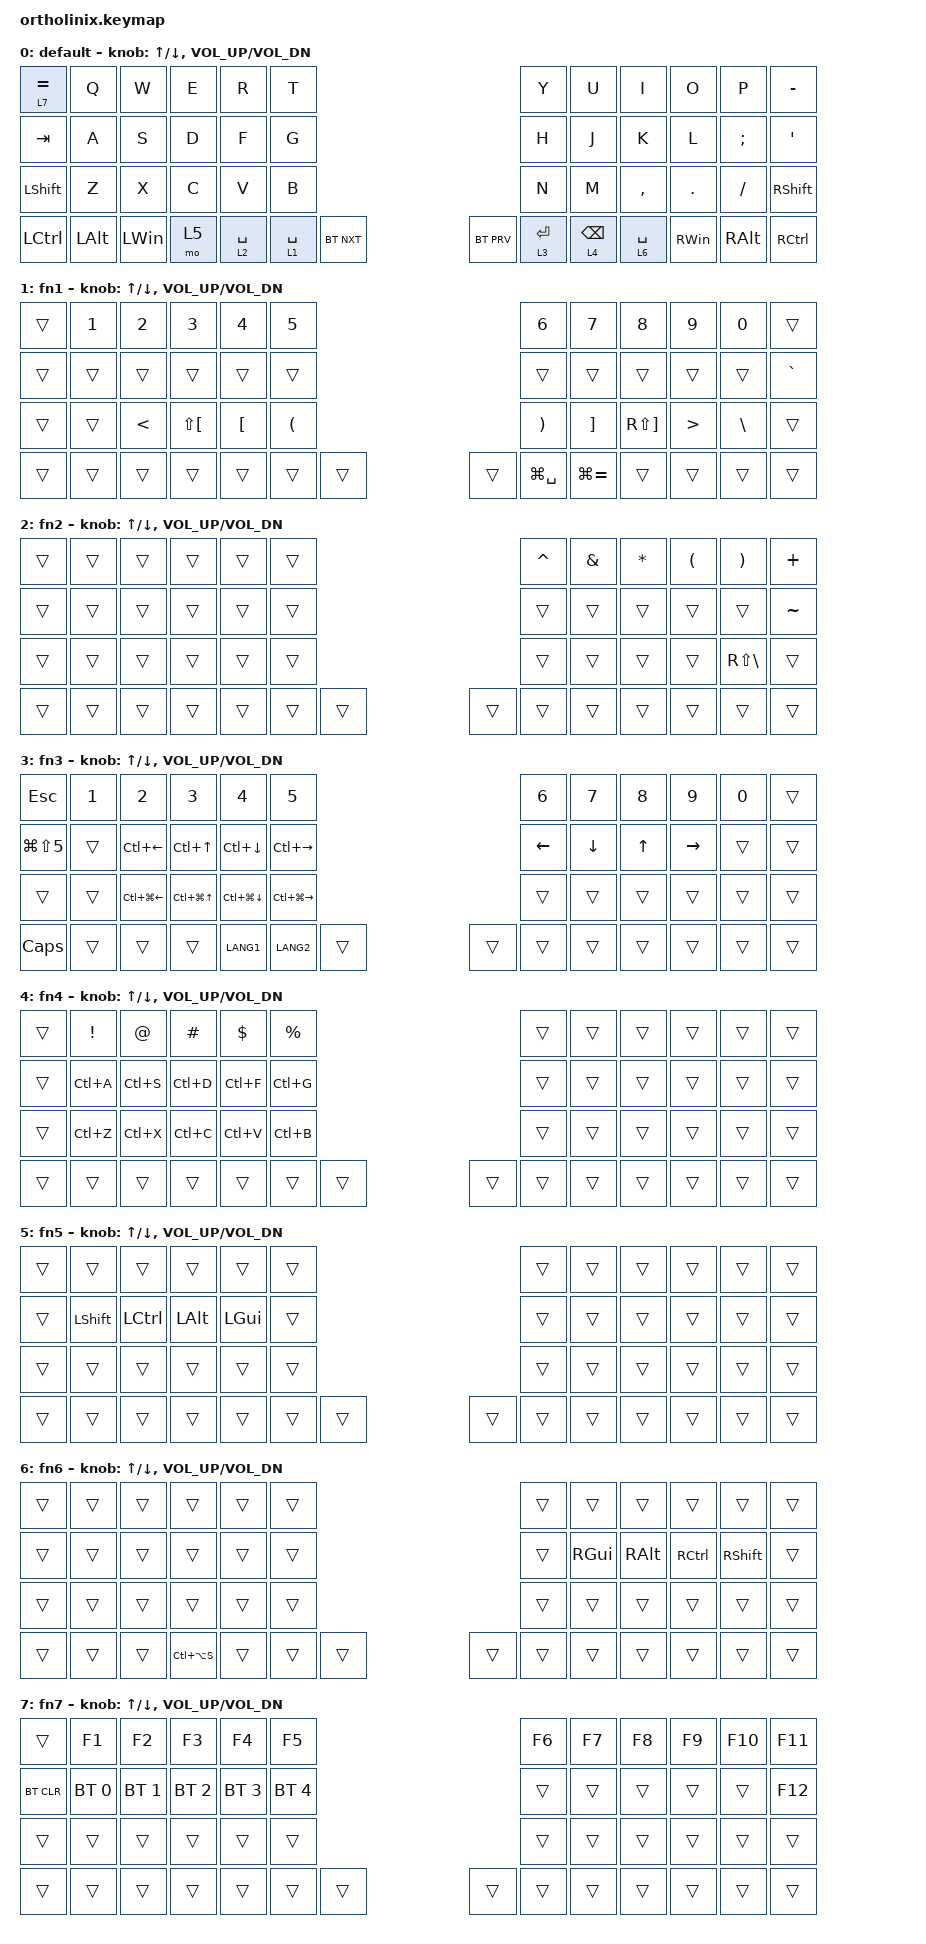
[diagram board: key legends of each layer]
#include <behaviors.dtsi>
#include <dt-bindings/zmk/bt.h>
#include <dt-bindings/zmk/keys.h>

#define default 0
#define fn1 1
#define fn2 2
#define fn3 3
#define fn4 4
#define fn5 5
#define fn6 6
#define fn7 7

/ {
    keymap {
        compatible = "zmk,keymap";

        default { // Layer 0
            bindings = <
                &lt 7 EQUAL  &kp Q     &kp W     &kp E   &kp R        &kp T                                &kp Y       &kp U       &kp I        &kp O      &kp P    &kp MINUS
                &kp TAB      &kp A     &kp S     &kp D   &kp F        &kp G                                &kp H       &kp J       &kp K        &kp L      &kp SEMI &kp SQT
                &kp LSHFT    &kp Z     &kp X     &kp C   &kp V        &kp B                                &kp N       &kp M       &kp COMMA    &kp PERIOD &kp FSLH &kp RSHFT
                &kp LCTRL    &kp LALT  &kp LWIN  &mo 5   &lt 2 SPACE  &lt 1 SPACE  &bt BT_NXT  &bt BT_PRV  &lt 3 RET   &lt 4 BSPC   &lt 6 SPACE  &kp RWIN   &kp RALT &kp RCTRL
            >;
            sensor-bindings = <&inc_dec_kp UP DOWN &inc_dec_kp C_VOL_UP C_VOL_DN>;
        };

        fn1 {
            bindings = <
                &trans &kp N1 &kp N2 &kp N3        &kp N4   &kp N5                       &kp N6         &kp  N7         &kp N8        &kp N9  &kp N0    &trans
                &trans &trans &trans &trans        &trans   &trans                       &trans         &trans          &trans        &trans  &trans    &kp GRAVE
                &trans &trans &kp LT &kp LS(LBKT)  &kp LBKT &kp LPAR                     &kp RPAR       &kp RBKT        &kp RS(RBKT)  &kp GT  &kp BSLH  &trans
                &trans &trans &trans &trans        &trans   &trans    &trans     &trans  &kp LG(SPACE)  &kp LG(EQUAL)   &trans        &trans  &trans    &trans
            >;
            sensor-bindings = <&inc_dec_kp UP DOWN &inc_dec_kp C_VOL_UP C_VOL_DN>;
        };

        fn2 {
            bindings = <
                &trans &trans &trans &trans &trans &trans                     &kp CARET  &kp AMPS  &kp STAR  &kp LPAR  &kp RPAR      &kp PLUS
                &trans &trans &trans &trans &trans &trans                     &trans     &trans    &trans    &trans    &trans        &kp TILDE
                &trans &trans &trans &trans &trans &trans                     &trans     &trans    &trans    &trans    &kp RS(BSLH)  &trans
                &trans &trans &trans &trans &trans &trans  &trans     &trans  &trans     &trans    &trans    &trans    &trans        &trans
            >;
            sensor-bindings = <&inc_dec_kp UP DOWN &inc_dec_kp C_VOL_UP C_VOL_DN>;
        };

        fn3 {
            bindings = <
                &kp ESC   &kp N1  &kp N2             &kp N3           &kp N4             &kp N5                                &kp N6     &kp  N7   &kp N8  &kp N9     &kp N0   &trans
                &kp LG(LS(5))    &trans  &kp LC(LEFT)       &kp LC(UP)       &kp LC(DOWN)       &kp LC(RIGHT)                         &kp LEFT   &kp DOWN  &kp UP  &kp RIGHT  &trans  &trans
                &trans    &trans  &kp LC(LG(LEFT))   &kp LC(LG(UP))   &kp LC(LG(DOWN))   &kp LC(LG(RIGHT))                     &trans     &trans    &trans  &trans  &trans  &trans
                &kp CAPS  &trans  &trans             &trans           &kp LANG1          &kp LANG2          &trans     &trans  &trans     &trans    &trans  &trans  &trans  &trans
            >;
            sensor-bindings = <&inc_dec_kp UP DOWN &inc_dec_kp C_VOL_UP C_VOL_DN>;
        };

        fn4 {
            bindings = <
                &trans &kp EXCL   &kp AT     &kp HASH   &kp DLLR   &kp PRCNT                     &trans  &trans  &trans  &trans  &trans  &trans
                &trans &kp LC(A)  &kp LC(S)  &kp LC(D)  &kp LC(F)  &kp LC(G)                     &trans  &trans  &trans  &trans  &trans  &trans
                &trans &kp LC(Z)  &kp LC(X)  &kp LC(C)  &kp LC(V)  &kp LC(B)                     &trans  &trans  &trans  &trans  &trans  &trans
                &trans &trans     &trans     &trans     &trans     &trans     &trans     &trans  &trans  &trans  &trans  &trans  &trans  &trans
            >;
            sensor-bindings = <&inc_dec_kp UP DOWN &inc_dec_kp C_VOL_UP C_VOL_DN>;
        };

        fn5 {
            bindings = <
                &trans &trans    &trans    &trans   &trans   &trans                     &trans  &trans  &trans  &trans  &trans  &trans
                &trans &kp LSHFT &kp LCTRL &kp LALT &kp LGUI &trans                     &trans  &trans  &trans  &trans  &trans  &trans
                &trans &trans    &trans    &trans   &trans   &trans                     &trans  &trans  &trans  &trans  &trans  &trans
                &trans &trans    &trans    &trans   &trans   &trans  &trans     &trans  &trans  &trans  &trans  &trans  &trans  &trans
            >;
            sensor-bindings = <&inc_dec_kp UP DOWN &inc_dec_kp C_VOL_UP C_VOL_DN>;
        };
        fn6 {
            bindings = <
                &trans  &trans  &trans  &trans         &trans  &trans                     &trans  &trans    &trans    &trans     &trans     &trans
                &trans  &trans  &trans  &trans         &trans  &trans                     &trans  &kp RGUI  &kp RALT  &kp RCTRL  &kp RSHFT  &trans
                &trans  &trans  &trans  &trans         &trans  &trans                     &trans  &trans    &trans    &trans     &trans     &trans
                &trans  &trans  &trans  &kp LC(LA(S))  &trans  &trans  &trans     &trans  &trans  &trans    &trans    &trans     &trans     &trans
            >;
            sensor-bindings = <&inc_dec_kp UP DOWN &inc_dec_kp C_VOL_UP C_VOL_DN>;
        };
        fn7 {
            bindings = <
                &trans      &kp F1        &kp F2        &kp F3        &kp F4        &kp F5                     &kp F6  &kp F7  &kp F8  &kp F9   &kp F10  &kp F11
                &bt BT_CLR  &bt BT_SEL 0  &bt BT_SEL 1  &bt BT_SEL 2  &bt BT_SEL 3  &bt BT_SEL 4               &trans  &trans  &trans  &trans   &trans   &kp F12
                &trans      &trans        &trans        &trans        &trans        &trans                     &trans  &trans  &trans  &trans   &trans   &trans
                &trans      &trans        &trans        &trans        &trans        &trans  &trans     &trans  &trans  &trans  &trans  &trans   &trans   &trans
            >;
            sensor-bindings = <&inc_dec_kp UP DOWN &inc_dec_kp C_VOL_UP C_VOL_DN>;
        };
    };
 };
